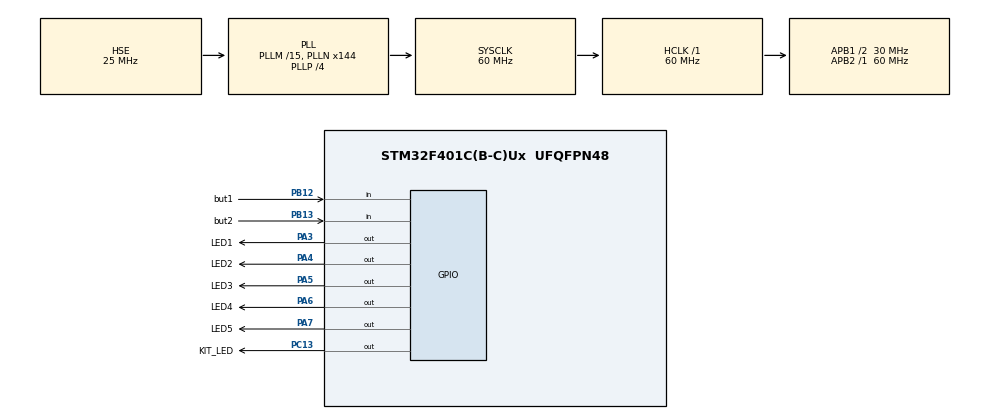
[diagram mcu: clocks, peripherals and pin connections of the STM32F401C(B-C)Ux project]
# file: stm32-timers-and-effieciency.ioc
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Mcu.Family=STM32F4
Mcu.Name=STM32F401C(B-C)Ux
Mcu.Package=UFQFPN48
NVIC.PriorityGroup=NVIC_PRIORITYGROUP_4
NVIC.TIM4_IRQn=true\:0\:0\:false\:false\:true\:true\:true\:true
PA13.Mode=Serial_Wire
PA13.Signal=SYS_JTMS-SWDIO
PA14.Mode=Serial_Wire
PA14.Signal=SYS_JTCK-SWCLK
PA3.GPIO_Label=LED1
PA3.Signal=GPIO_Output
PA4.GPIO_Label=LED2
PA4.Signal=GPIO_Output
PA5.GPIO_Label=LED3
PA5.Signal=GPIO_Output
PA6.GPIO_Label=LED4
PA6.Signal=GPIO_Output
PA7.GPIO_Label=LED5
PA7.Signal=GPIO_Output
PB12.GPIO_Label=but1
PB12.Signal=GPIO_Input
PB13.GPIO_Label=but2
PB13.Signal=GPIO_Input
PC13-ANTI_TAMP.GPIO_Label=KIT_LED
PC13-ANTI_TAMP.Signal=GPIO_Output
PC14-OSC32_IN.Mode=LSE-External-Oscillator
PC14-OSC32_IN.Signal=RCC_OSC32_IN
PC15-OSC32_OUT.Mode=LSE-External-Oscillator
PC15-OSC32_OUT.Signal=RCC_OSC32_OUT
PH0\ -\ OSC_IN.Mode=HSE-External-Oscillator
PH0\ -\ OSC_IN.Signal=RCC_OSC_IN
PH1\ -\ OSC_OUT.Mode=HSE-External-Oscillator
PH1\ -\ OSC_OUT.Signal=RCC_OSC_OUT
ProjectManager.HeapSize=0x200
ProjectManager.StackSize=0x400
ProjectManager.TargetToolchain=STM32CubeIDE
RCC.48MHZClocksFreq_Value=48000000
RCC.AHBFreq_Value=60000000
RCC.APB1CLKDivider=RCC_HCLK_DIV2
RCC.APB1Freq_Value=30000000
RCC.APB1TimFreq_Value=60000000
RCC.APB2Freq_Value=60000000
RCC.APB2TimFreq_Value=60000000
RCC.CortexFreq_Value=60000000
RCC.HCLKFreq_Value=60000000
RCC.HSE_VALUE=25000000
RCC.HSI_VALUE=16000000
RCC.PLLM=15
RCC.PLLN=144
RCC.PLLP=RCC_PLLP_DIV4
RCC.PLLQ=5
RCC.PLLSourceVirtual=RCC_PLLSOURCE_HSE
RCC.SYSCLKFreq_VALUE=60000000
RCC.SYSCLKSource=RCC_SYSCLKSOURCE_PLLCLK
RCC.VCOOutputFreq_Value=240000000
TIM4.Period=1030
TIM4.Prescaler=9600-1
VP_TIM4_VS_ClockSourceINT.Mode=Internal
board=custom

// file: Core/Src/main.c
/* USER CODE BEGIN Header */
/**
 ******************************************************************************
 * @file           : main.c
 * @brief          : Main program body
 ******************************************************************************
 * @attention
 *
 * Copyright (c) 2022 STMicroelectronics.
 * All rights reserved.
 *
 * This software is licensed under terms that can be found in the LICENSE file
 * in the root directory of this software component.
 * If no LICENSE file comes with this software, it is provided AS-IS.
 *
 ******************************************************************************
 */
/* USER CODE END Header */
#include "main.h"

/* USER CODE BEGIN Includes */
#include "button.h"
/* USER CODE END Includes */

TIM_HandleTypeDef htim4;

/* USER CODE BEGIN PV */
uint32_t i;
volatile uint8_t leds = 5;
uint8_t numeroDeLeds = 5;
volatile uint16_t addTempo = 103;
/* USER CODE END PV */

void SystemClock_Config(void);
static void MX_GPIO_Init(void);
static void MX_TIM4_Init(void);

int main(void)
{

  /* MCU Configuration--------------------------------------------------------*/

  /* Reset of all peripherals, Initializes the Flash interface and the Systick. */
  HAL_Init();

  /* Configure the system clock */
  SystemClock_Config();

  /* Initialize all configured peripherals */
  MX_GPIO_Init();
  MX_TIM4_Init();
  /* USER CODE BEGIN 2 */
  HAL_TIM_Base_Start_IT (&htim4);
  /* USER CODE END 2 */

  /* Infinite loop */
  while (1)
  {

    /* USER CODE BEGIN 3 */
    if (button_release(GPIOB, GPIO_PIN_12, 0))
  {
    addTempo += 103;
  }
    for (i = 0; i < numeroDeLeds; i++)
    {

      /* if (button_release(GPIOB, GPIO_PIN_12, 0))
      {

        leds = (leds + 1) & 0x1F; // contador de 0 a 31 usando 5 leds de pa3 a pa7
        // limpa os LED pins (PA3 à PA7)
        //HAL_GPIO_WritePin(GPIOA, LED1_Pin | LED2_Pin | LED3_Pin | LED4_Pin | LED5_Pin, GPIO_PIN_RESET);
        // Acende os LEDs conforme o valor do contador
         for (uint8_t bit = 0; bit < 5; bit++)
        {
          if (leds & (1 << bit))
          {
            HAL_GPIO_WritePin(GPIOA, (LED1_Pin << bit), GPIO_PIN_SET);
          }
        }
        HAL_GPIO_WritePin(GPIOA, (~leds)<<3, GPIO_PIN_RESET);
        HAL_GPIO_WritePin(GPIOA, leds<<3, GPIO_PIN_SET);
      } */
      HAL_Delay(200);
    }
    HAL_GPIO_TogglePin(KIT_LED_GPIO_Port, KIT_LED_Pin);
  }
}
  /* USER CODE END 3 */
}

void SystemClock_Config(void)
{
  RCC_OscInitTypeDef RCC_OscInitStruct = {0};
  RCC_ClkInitTypeDef RCC_ClkInitStruct = {0};

  /** Configure the main internal regulator output voltage
  */
  __HAL_RCC_PWR_CLK_ENABLE();
  __HAL_PWR_VOLTAGESCALING_CONFIG(PWR_REGULATOR_VOLTAGE_SCALE2);

  /** Initializes the RCC Oscillators according to the specified parameters
  * in the RCC_OscInitTypeDef structure.
  */
  RCC_OscInitStruct.OscillatorType = RCC_OSCILLATORTYPE_HSE;
  RCC_OscInitStruct.HSEState = RCC_HSE_ON;
  RCC_OscInitStruct.PLL.PLLState = RCC_PLL_ON;
  RCC_OscInitStruct.PLL.PLLSource = RCC_PLLSOURCE_HSE;
  RCC_OscInitStruct.PLL.PLLM = 15;
  RCC_OscInitStruct.PLL.PLLN = 144;
  RCC_OscInitStruct.PLL.PLLP = RCC_PLLP_DIV4;
  RCC_OscInitStruct.PLL.PLLQ = 5;
  if (HAL_RCC_OscConfig(&RCC_OscInitStruct) != HAL_OK)
  {
    Error_Handler();
  }

  /** Initializes the CPU, AHB and APB buses clocks
  */
  RCC_ClkInitStruct.ClockType = RCC_CLOCKTYPE_HCLK|RCC_CLOCKTYPE_SYSCLK
                              |RCC_CLOCKTYPE_PCLK1|RCC_CLOCKTYPE_PCLK2;
  RCC_ClkInitStruct.SYSCLKSource = RCC_SYSCLKSOURCE_PLLCLK;
  RCC_ClkInitStruct.AHBCLKDivider = RCC_SYSCLK_DIV1;
  RCC_ClkInitStruct.APB1CLKDivider = RCC_HCLK_DIV2;
  RCC_ClkInitStruct.APB2CLKDivider = RCC_HCLK_DIV1;

  if (HAL_RCC_ClockConfig(&RCC_ClkInitStruct, FLASH_LATENCY_1) != HAL_OK)
  {
    Error_Handler();
  }
}

static void MX_TIM4_Init(void)
{

  TIM_ClockConfigTypeDef sClockSourceConfig = {0};
  TIM_MasterConfigTypeDef sMasterConfig = {0};

  htim4.Instance = TIM4;
  htim4.Init.Prescaler = 9600-1;
  htim4.Init.CounterMode = TIM_COUNTERMODE_UP;
  htim4.Init.Period = 1030;
  htim4.Init.ClockDivision = TIM_CLOCKDIVISION_DIV1;
  htim4.Init.AutoReloadPreload = TIM_AUTORELOAD_PRELOAD_DISABLE;
  if (HAL_TIM_Base_Init(&htim4) != HAL_OK)
  {
    Error_Handler();
  }
  sClockSourceConfig.ClockSource = TIM_CLOCKSOURCE_INTERNAL;
  if (HAL_TIM_ConfigClockSource(&htim4, &sClockSourceConfig) != HAL_OK)
  {
    Error_Handler();
  }
  sMasterConfig.MasterOutputTrigger = TIM_TRGO_RESET;
  sMasterConfig.MasterSlaveMode = TIM_MASTERSLAVEMODE_DISABLE;
  if (HAL_TIMEx_MasterConfigSynchronization(&htim4, &sMasterConfig) != HAL_OK)
  {
    Error_Handler();
  }

}

static void MX_GPIO_Init(void)
{
  GPIO_InitTypeDef GPIO_InitStruct = {0};

  /* GPIO Ports Clock Enable */
  __HAL_RCC_GPIOC_CLK_ENABLE();
  __HAL_RCC_GPIOH_CLK_ENABLE();
  __HAL_RCC_GPIOA_CLK_ENABLE();
  __HAL_RCC_GPIOB_CLK_ENABLE();

  /*Configure GPIO pin Output Level */
  HAL_GPIO_WritePin(KIT_LED_GPIO_Port, KIT_LED_Pin, GPIO_PIN_RESET);

  /*Configure GPIO pin Output Level */
  HAL_GPIO_WritePin(GPIOA, LED1_Pin|LED2_Pin|LED3_Pin|LED4_Pin
                          |LED5_Pin, GPIO_PIN_RESET);

  /*Configure GPIO pin : KIT_LED_Pin */
  GPIO_InitStruct.Pin = KIT_LED_Pin;
  GPIO_InitStruct.Mode = GPIO_MODE_OUTPUT_PP;
  GPIO_InitStruct.Pull = GPIO_NOPULL;
  GPIO_InitStruct.Speed = GPIO_SPEED_FREQ_LOW;
  HAL_GPIO_Init(KIT_LED_GPIO_Port, &GPIO_InitStruct);

  /*Configure GPIO pins : LED1_Pin LED2_Pin LED3_Pin LED4_Pin
                           LED5_Pin */
  GPIO_InitStruct.Pin = LED1_Pin|LED2_Pin|LED3_Pin|LED4_Pin
                          |LED5_Pin;
  GPIO_InitStruct.Mode = GPIO_MODE_OUTPUT_PP;
  GPIO_InitStruct.Pull = GPIO_NOPULL;
  GPIO_InitStruct.Speed = GPIO_SPEED_FREQ_LOW;
  HAL_GPIO_Init(GPIOA, &GPIO_InitStruct);

  /*Configure GPIO pins : but1_Pin but2_Pin */
  GPIO_InitStruct.Pin = but1_Pin|but2_Pin;
  GPIO_InitStruct.Mode = GPIO_MODE_INPUT;
  GPIO_InitStruct.Pull = GPIO_NOPULL;
  HAL_GPIO_Init(GPIOB, &GPIO_InitStruct);

}

/* USER CODE BEGIN 4 */
 void HAL_TIM_PeriodElapsedCallback (&htim4){

    leds = (leds - 1) & 0x1F; // contador de 0 a 31 usando 5 leds de pa3 a pa7
    // limpa os LED pins (PA3 à PA7)
    //HAL_GPIO_WritePin(GPIOA, LED1_Pin | LED2_Pin | LED3_Pin | LED4_Pin | LED5_Pin, GPIO_PIN_RESET);
    // Acende os LEDs conforme o valor do contador
    /* for (uint8_t bit = 0; bit < 5; bit++)
    {
      if (leds & (1 << bit))
      {
        HAL_GPIO_WritePin(GPIOA, (LED1_Pin << bit), GPIO_PIN_SET);
      }
    } */
    HAL_GPIO_WritePin(GPIOA, (~leds)>>3, GPIO_PIN_RESET);
    HAL_GPIO_WritePin(GPIOA, leds>>3, GPIO_PIN_SET);

 }
/* USER CODE END 4 */

void Error_Handler(void)
{
  __disable_irq();
  while (1)
  {
  }
}
